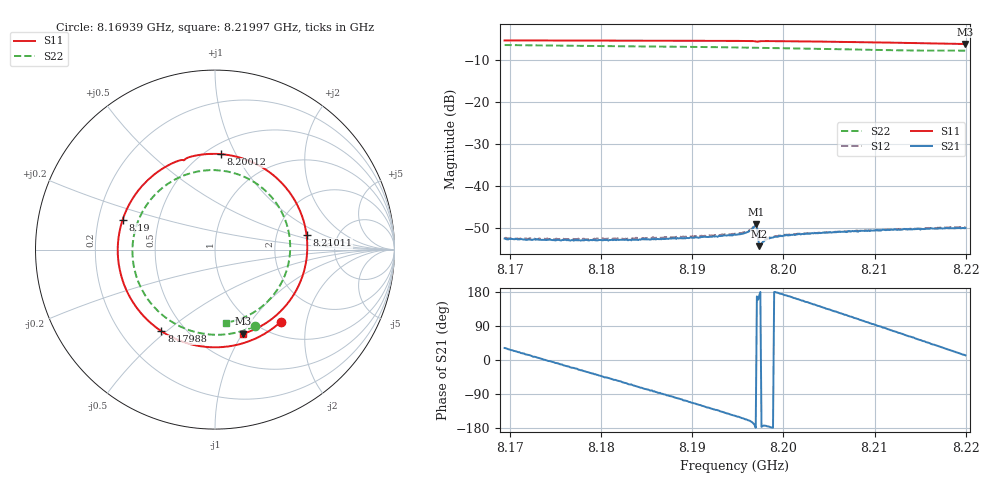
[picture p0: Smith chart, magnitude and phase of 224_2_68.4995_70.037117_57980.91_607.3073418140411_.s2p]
#  HZ  S  RI  R  50.00
! Rohde & Schwarz Vector Network Analyzer
! Rohde-Schwarz,ZNB20-2Port,1311601062101988,3.16
! Created: UTC 3/20/2024, 4:58:40 PM
! freq[Hz]  re:S11  im:S11  re:S21  im:S21  re:S12  im:S12  re:S22  im:S22
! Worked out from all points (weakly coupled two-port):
!   401 points, 8.16939 GHz to 8.21997 GHz, reference 50 ohm
!   highest |S21| = -49.12 dB at 8.19696 GHz (marker M1); lowest = -54.4 dB at 8.19734 GHz (marker M2)
!   lowest |S11| = -6.1 dB at 8.21997 GHz (marker M3), VSWR 2.95, Z = 40.7 - j50.4 ohm
!   |S11| at or under -10 dB: nowhere
!   |S22| runs from -7.7 to -6.4 dB; largest |S21 - S12| = 0.00018
!   S11 on the Smith chart (normalised r, x): 8.16939 GHz: 1.25, -1.43; 8.17988 GHz: 0.37, -0.48; 8.19 GHz: 0.30, +0.14; 8.20012 GHz: 0.59, +0.87; 8.21011 GHz: 2.97, +0.67; 8.21997 GHz: 0.81, -1.01
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8.169387e9  0.3658 -0.4027  0.002 0.00123  0.00201 0.00124  0.2222 -0.4256
8.173814e9  0.0997 -0.5354  0.00227 1.99e-05  0.00234 4.36e-05  -0.0252 -0.4734
8.17786e9  -0.1743 -0.5156  0.002 -0.00103  0.00204 -0.00109  -0.2414 -0.4018
8.179884e9  -0.2991 -0.4541  0.00169 -0.0015  0.00175 -0.00158  -0.3299 -0.3303
8.183298e9  -0.4623 -0.2852  0.000966 -0.00202  0.000982 -0.00214  -0.4309 -0.1701
8.186333e9  -0.535 -0.0882  0.000129 -0.00231  9.01e-05 -0.00238  -0.4601 -0.0046
8.190001e9  -0.5151 0.1651  -0.00094 -0.00221  -0.00103 -0.00228  -0.4138 0.1921
8.19468e9  -0.3262 0.428  -0.0022 -0.00142  -0.0023 -0.00139  -0.2392 0.3813
8.195944e9  -0.25 0.4752  -0.00256 -0.00109  -0.00264 -0.00102  -0.1758 0.4122
8.196829e9  -0.1894 0.4986  -0.00325 -0.000503  -0.00337 -0.000378  -0.1284 0.4279
8.196956e9  -0.1799 0.4993  -0.0035 -6.44e-05  -0.00354 9.29e-05  -0.1213 0.4295
8.197335e9  -0.1643 0.5055  -0.00188 0.000341  -0.0019 0.000418  -0.1008 0.4343
8.197588e9  -0.147 0.5138  -0.002 -0.000122  -0.002 -5.62e-05  -0.0866 0.4368
8.198221e9  -0.1018 0.5251  -0.00232 -0.000193  -0.00235 -0.000106  -0.0512 0.4412
8.200117e9  0.0324 0.532  -0.00252 0.000392  -0.00256 0.000518  0.0564 0.4372
8.203153e9  0.2373 0.4729  -0.00232 0.00145  -0.00225 0.00151  0.218 0.3762
8.20682e9  0.4284 0.3001  -0.00138 0.00246  -0.00133 0.00254  0.3646 0.2227
8.210108e9  0.5099 0.0823  -0.000114 0.00294  -6.57e-05 0.00295  0.4185 0.0352
8.211625e9  0.5126 -0.026  0.000498 0.00294  0.000581 0.00295  0.4132 -0.0572
8.215419e9  0.4201 -0.2793  0.00198 0.00233  0.00208 0.00231  0.3126 -0.2684
8.217822e9  0.297 -0.4006  0.00271 0.00155  0.0028 0.00147  0.1921 -0.3633
8.219972e9  0.1572 -0.4681  0.00306 0.000668  0.00317 0.000587  0.0588 -0.4076
